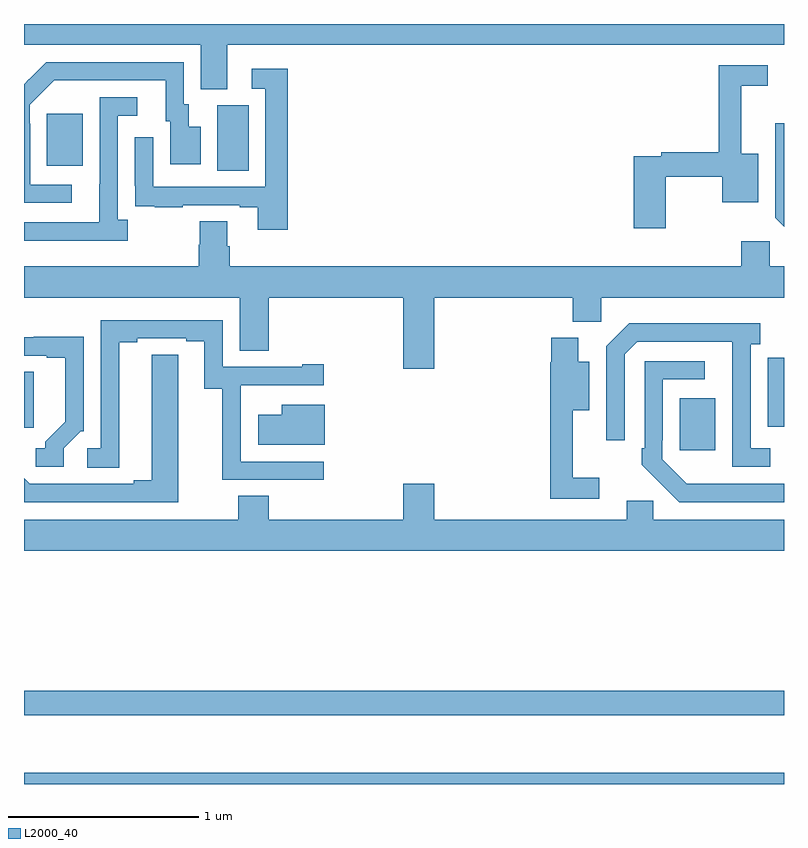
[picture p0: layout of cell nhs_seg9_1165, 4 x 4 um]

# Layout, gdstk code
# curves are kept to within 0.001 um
import gdstk
lib = gdstk.Library(unit=1e-6, precision=1e-09)
def R(c, l, rs):  # rectangles x0, y0, x1, y1
    for r in rs: c.add(gdstk.rectangle(r[:2], r[2:], *l))
def P(c, l, *ps):  # polygons
    for p in ps: c.add(gdstk.Polygon(p, *l))
L2000_40 = (2000, 40)

nhs_seg9_1165 = lib.new_cell('nhs_seg9_1165')
R(nhs_seg9_1165, L2000_40, [(175,1220.5,179,1220.56), (175,1220.862,179,1220.99), (178.451,1222.257,178.639,1222.531), (175,1222.376,175.051,1222.67), (176.018,1223.728,176.182,1224.072), (175.121,1223.753,175.309,1224.028)])
P(nhs_seg9_1165, L2000_40, [(176.071,1224.392),(179,1224.392),(179,1224.5),(175,1224.5),(175,1224.392),(175.931,1224.392),(175.931,1224.157),(176.071,1224.157)],
  [(175.252,1223.655),(175.032,1223.655),(175.032,1223.975),(175.029,1223.975),(175.029,1224.075),(175.158,1224.204),(175.745,1224.204),(175.745,1223.988),(175.769,1223.988),(175.769,1223.763),(175.93,1223.763),(175.93,1223.959),(175.867,1223.959),(175.867,1224.078),(175.842,1224.078),(175.842,1224.3),(175.118,1224.3),(175.027,1224.209),(175.026,1224.21),(175,1224.184),(175,1223.559),(175.252,1223.559)],
  [(178.378,1223.697),(178.676,1223.697),(178.676,1223.561),(178.864,1223.561),(178.864,1223.818),(178.775,1223.818),(178.775,1224.174),(178.915,1224.174),(178.915,1224.282),(178.657,1224.282),(178.657,1223.825),(178.354,1223.825),(178.354,1223.805),(178.208,1223.805),(178.208,1223.424),(178.378,1223.424)],
  [(176.387,1224.265),(176.199,1224.265),(176.199,1224.159),(176.271,1224.159),(176.271,1223.643),(175.68,1223.643),(175.68,1223.905),(175.584,1223.905),(175.584,1223.65),(175.585,1223.65),(175.585,1223.541),(175.687,1223.541),(175.687,1223.535),(175.835,1223.535),(175.835,1223.547),(176.135,1223.547),(176.135,1223.535),(176.231,1223.535),(176.231,1223.418),(176.387,1223.418)],
  [(175.546,1223.47),(175.494,1223.47),(175.494,1224.018),(175.597,1224.018),(175.597,1224.114),(175.398,1224.114),(175.398,1223.657),(175.397,1223.657),(175.397,1223.457),(175,1223.457),(175,1223.36),(175.546,1223.36)],
  [(179,1223.977),(178.953,1223.977),(178.953,1223.481),(179,1223.434)],
  [(177.16,1223.06),(177.887,1223.06),(177.887,1222.934),(178.038,1222.934),(178.038,1223.06),(179,1223.06),(179,1223.224),(178.926,1223.224),(178.926,1223.356),(178.775,1223.356),(178.775,1223.224),(176.084,1223.224),(176.084,1223.33),(176.071,1223.33),(176.071,1223.462),(175.924,1223.462),(175.924,1223.337),(175.919,1223.337),(175.919,1223.224),(175,1223.224),(175,1223.06),(176.135,1223.06),(176.135,1222.78),(176.288,1222.78),(176.288,1223.06),(176.996,1223.06),(176.996,1222.686),(177.16,1222.686)],
  [(176.578,1222.197),(176.142,1222.197),(176.142,1222.598),(176.144,1222.598),(176.144,1222.599),(176.578,1222.599),(176.578,1222.708),(176.465,1222.708),(176.465,1222.695),(176.046,1222.695),(176.046,1222.941),(175.404,1222.941),(175.404,1222.266),(175.332,1222.266),(175.332,1222.165),(175.501,1222.165),(175.501,1222.825),(175.597,1222.825),(175.597,1222.845),(175.853,1222.845),(175.853,1222.83),(175.949,1222.83),(175.949,1222.579),(176.044,1222.579),(176.044,1222.101),(176.578,1222.101)],
  [(178.927,1222.266),(178.824,1222.266),(178.824,1222.814),(178.876,1222.814),(178.876,1222.924),(178.186,1222.924),(178.065,1222.803),(178.065,1222.308),(178.161,1222.308),(178.161,1222.761),(178.227,1222.827),(178.727,1222.827),(178.728,1222.17),(178.927,1222.17)],
  [(175.209,1222.266),(175.299,1222.356),(175.314,1222.356),(175.314,1222.853),(175.051,1222.853),(175.051,1222.851),(175,1222.851),(175,1222.755),(175.121,1222.755),(175.121,1222.743),(175.217,1222.743),(175.217,1222.406),(175.112,1222.301),(175.112,1222.266),(175.062,1222.266),(175.062,1222.17),(175.209,1222.17)],
  [(178.027,1222.111),(177.887,1222.111),(177.887,1222.466),(177.976,1222.466),(177.976,1222.723),(177.916,1222.723),(177.916,1222.849),(177.776,1222.849),(177.776,1222.719),(177.769,1222.719),(177.769,1222.002),(178.027,1222.002)],
  [(175.813,1222.652),(175.812,1222.652),(175.812,1222.76),(175.673,1222.76),(175.673,1222.1),(175.577,1222.1),(175.577,1222.08),(175.029,1222.08),(175,1222.109),(175,1221.984),(175.813,1221.984)],
  [(179,1222.743),(178.915,1222.743),(178.915,1222.634),(178.914,1222.634),(178.914,1222.38),(179,1222.38)],
  [(179,1222.08),(178.488,1222.081),(178.359,1222.209),(178.359,1222.309),(178.362,1222.309),(178.362,1222.629),(178.582,1222.629),(178.582,1222.725),(178.266,1222.725),(178.266,1222.267),(178.251,1222.267),(178.251,1222.179),(178.448,1221.984),(179,1221.984)],
  [(176.584,1222.495),(176.357,1222.495),(176.357,1222.444),(176.232,1222.444),(176.232,1222.286),(176.584,1222.286)],
  [(179,1221.892),(178.311,1221.892),(178.311,1221.99),(178.172,1221.99),(178.172,1221.892),(177.16,1221.892),(177.16,1222.081),(176.996,1222.081),(176.996,1221.892),(176.288,1221.892),(176.288,1222.016),(176.128,1222.016),(176.128,1221.892),(175,1221.892),(175,1221.728),(179,1221.728)])

lib.write_gds('nhs_seg9_1165.gds')
